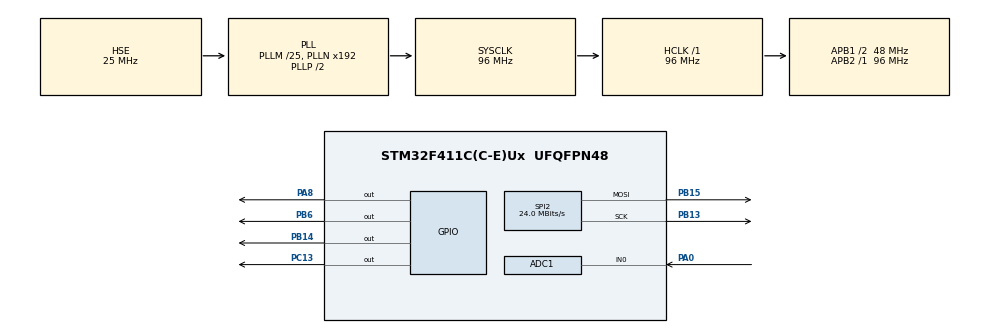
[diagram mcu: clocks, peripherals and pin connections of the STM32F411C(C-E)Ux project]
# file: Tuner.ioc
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ADC1.Channel-1\#ChannelRegularConversion=ADC_CHANNEL_0
ADC1.DMAContinuousRequests=ENABLE
ADC1.ExternalTrigConv=ADC_EXTERNALTRIGCONV_T2_TRGO
ADC1.NbrOfConversion=1
ADC1.NbrOfConversionFlag=1
ADC1.Rank-1\#ChannelRegularConversion=1
ADC1.SamplingTime-1\#ChannelRegularConversion=ADC_SAMPLETIME_480CYCLES
ADC1.master=1
Dma.ADC1.0.Direction=DMA_PERIPH_TO_MEMORY
Dma.ADC1.0.FIFOMode=DMA_FIFOMODE_DISABLE
Dma.ADC1.0.Instance=DMA2_Stream0
Dma.ADC1.0.MemDataAlignment=DMA_MDATAALIGN_HALFWORD
Dma.ADC1.0.MemInc=DMA_MINC_ENABLE
Dma.ADC1.0.Mode=DMA_CIRCULAR
Dma.ADC1.0.PeriphDataAlignment=DMA_PDATAALIGN_HALFWORD
Dma.ADC1.0.PeriphInc=DMA_PINC_DISABLE
Dma.ADC1.0.Priority=DMA_PRIORITY_HIGH
Dma.Request0=ADC1
Mcu.Family=STM32F4
Mcu.Name=STM32F411C(C-E)Ux
Mcu.Package=UFQFPN48
NVIC.ADC_IRQn=true\:0\:0\:false\:false\:true\:true\:true\:true
NVIC.DMA2_Stream0_IRQn=true\:0\:0\:false\:false\:true\:false\:true\:true
NVIC.PriorityGroup=NVIC_PRIORITYGROUP_4
PA0-WKUP.Signal=ADCx_IN0
PA8.Signal=GPIO_Output
PB13.Mode=TX_Only_Simplex_Unidirect_Master
PB13.Signal=SPI2_SCK
PB14.Signal=GPIO_Output
PB15.Mode=TX_Only_Simplex_Unidirect_Master
PB15.Signal=SPI2_MOSI
PB6.Signal=GPIO_Output
PC13-ANTI_TAMP.Signal=GPIO_Output
PC14-OSC32_IN.Mode=LSE-External-Oscillator
PC14-OSC32_IN.Signal=RCC_OSC32_IN
PC15-OSC32_OUT.Mode=LSE-External-Oscillator
PC15-OSC32_OUT.Signal=RCC_OSC32_OUT
PH0\ -\ OSC_IN.Mode=HSE-External-Oscillator
PH0\ -\ OSC_IN.Signal=RCC_OSC_IN
PH1\ -\ OSC_OUT.Mode=HSE-External-Oscillator
PH1\ -\ OSC_OUT.Signal=RCC_OSC_OUT
ProjectManager.HeapSize=0x200
ProjectManager.StackSize=0x400
ProjectManager.TargetToolchain=STM32CubeIDE
RCC.48MHZClocksFreq_Value=48000000
RCC.AHBFreq_Value=96000000
RCC.APB1CLKDivider=RCC_HCLK_DIV2
RCC.APB1Freq_Value=48000000
RCC.APB1TimFreq_Value=96000000
RCC.APB2Freq_Value=96000000
RCC.APB2TimFreq_Value=96000000
RCC.CortexFreq_Value=96000000
RCC.HCLKFreq_Value=96000000
RCC.HSE_VALUE=25000000
RCC.HSI_VALUE=16000000
RCC.PLLM=25
RCC.PLLSourceVirtual=RCC_PLLSOURCE_HSE
RCC.SYSCLKFreq_VALUE=96000000
RCC.SYSCLKSource=RCC_SYSCLKSOURCE_PLLCLK
RCC.VCOOutputFreq_Value=192000000
SH.ADCx_IN0.0=ADC1_IN0,IN0
SPI2.CalculateBaudRate=24.0 MBits/s
SPI2.Direction=SPI_DIRECTION_2LINES
SPI2.Mode=SPI_MODE_MASTER
SPI2.VirtualType=VM_MASTER
TIM2.Period=3000-1
TIM2.Prescaler=0
TIM2.TIM_MasterOutputTrigger=TIM_TRGO_UPDATE
VP_TIM2_VS_ClockSourceINT.Mode=Internal
board=custom

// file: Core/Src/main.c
/* USER CODE BEGIN Header */
/**
  ******************************************************************************
  * @file           : main.c
  * @brief          : Main program body
  ******************************************************************************
  * @attention
  *
  * Copyright (c) 2025 STMicroelectronics.
  * All rights reserved.
  *
  * This software is licensed under terms that can be found in the LICENSE file
  * in the root directory of this software component.
  * If no LICENSE file comes with this software, it is provided AS-IS.
  *
  ******************************************************************************
  */
/* USER CODE END Header */
#include "main.h"

/* USER CODE BEGIN Includes */
#include "arm_math.h"
#include "st7735.h"
#include "Yin.h"
#include "display.h"
/* USER CODE END Includes */

/* USER CODE BEGIN PD */
#define TEST_MODE 0
#define BUFFER_SIZE 916
#define SAMPLE_RATE 32000
#define THRESHOLD 0.1
#define A4 440
#define ADC_MAX 4095
/* USER CODE END PD */

ADC_HandleTypeDef hadc1;
DMA_HandleTypeDef hdma_adc1;
SPI_HandleTypeDef hspi2;
TIM_HandleTypeDef htim2;

/* USER CODE BEGIN PV */
uint16_t adcData[BUFFER_SIZE*2];
uint16_t* adcBufPtr;
uint8_t dataReady;
float32_t yinBuffer[BUFFER_SIZE];
Yin yin;
/* USER CODE END PV */

void SystemClock_Config(void);
static void MX_GPIO_Init(void);
static void MX_DMA_Init(void);
static void MX_SPI2_Init(void);
static void MX_ADC1_Init(void);
static void MX_TIM2_Init(void);

/* USER CODE BEGIN 0 */
void HAL_ADC_ConvHalfCpltCallback(ADC_HandleTypeDef *hadc) {
	adcBufPtr = &adcData[0];
	dataReady = 1;
}

void HAL_ADC_ConvCpltCallback(ADC_HandleTypeDef *hadc) {
	adcBufPtr = &adcData[BUFFER_SIZE];
	dataReady = 1;
}

void normalize_data() {
	for(int i=0; i < BUFFER_SIZE; i++) {
		yinBuffer[i] = (float32_t)(2 * adcBufPtr[i] - ADC_MAX) / (float32_t) ADC_MAX;
	}
}
/* USER CODE END 0 */

int main(void)
{

  /* MCU Configuration--------------------------------------------------------*/

  /* Reset of all peripherals, Initializes the Flash interface and the Systick. */
  HAL_Init();

  /* Configure the system clock */
  SystemClock_Config();

  /* Initialize all configured peripherals */
  MX_GPIO_Init();
  MX_DMA_Init();
  MX_SPI2_Init();
  MX_ADC1_Init();
  MX_TIM2_Init();

  /* USER CODE BEGIN 2 */
	HAL_ADC_Start_DMA(&hadc1, (uint32_t*)adcData, BUFFER_SIZE*2);
	HAL_TIM_Base_Start(&htim2);
	Yin_init(&yin, BUFFER_SIZE, SAMPLE_RATE, THRESHOLD);
	ST7735_Init();
	display_init();
	/* USER CODE END 2 */

  /* Infinite loop */
  /* USER CODE BEGIN WHILE */
	float32_t pitch;

	while (1) {
		if (dataReady) {
			// Center and normalize ADC data between -1.0 and 1.0
			normalize_data();

			// YIN pitch detection (Hz)
			pitch = Yin_getPitch(&yin, yinBuffer);

			if (yin.confidence > 0.95) {
				// Convert to semitones
				pitch = 12.0f * log2f(pitch / (float32_t) A4);

				// Display current pitch
				update_display(pitch);
			}

			dataReady = 0;
		}
	}
    /* USER CODE END WHILE */

}

void SystemClock_Config(void)
{
  RCC_OscInitTypeDef RCC_OscInitStruct = {0};
  RCC_ClkInitTypeDef RCC_ClkInitStruct = {0};

  /** Configure the main internal regulator output voltage
  */
  __HAL_RCC_PWR_CLK_ENABLE();
  __HAL_PWR_VOLTAGESCALING_CONFIG(PWR_REGULATOR_VOLTAGE_SCALE1);

  /** Initializes the RCC Oscillators according to the specified parameters
  * in the RCC_OscInitTypeDef structure.
  */
  RCC_OscInitStruct.OscillatorType = RCC_OSCILLATORTYPE_HSE;
  RCC_OscInitStruct.HSEState = RCC_HSE_ON;
  RCC_OscInitStruct.PLL.PLLState = RCC_PLL_ON;
  RCC_OscInitStruct.PLL.PLLSource = RCC_PLLSOURCE_HSE;
  RCC_OscInitStruct.PLL.PLLM = 25;
  RCC_OscInitStruct.PLL.PLLN = 192;
  RCC_OscInitStruct.PLL.PLLP = RCC_PLLP_DIV2;
  RCC_OscInitStruct.PLL.PLLQ = 4;
  if (HAL_RCC_OscConfig(&RCC_OscInitStruct) != HAL_OK)
  {
    Error_Handler();
  }

  /** Initializes the CPU, AHB and APB buses clocks
  */
  RCC_ClkInitStruct.ClockType = RCC_CLOCKTYPE_HCLK|RCC_CLOCKTYPE_SYSCLK
                              |RCC_CLOCKTYPE_PCLK1|RCC_CLOCKTYPE_PCLK2;
  RCC_ClkInitStruct.SYSCLKSource = RCC_SYSCLKSOURCE_PLLCLK;
  RCC_ClkInitStruct.AHBCLKDivider = RCC_SYSCLK_DIV1;
  RCC_ClkInitStruct.APB1CLKDivider = RCC_HCLK_DIV2;
  RCC_ClkInitStruct.APB2CLKDivider = RCC_HCLK_DIV1;

  if (HAL_RCC_ClockConfig(&RCC_ClkInitStruct, FLASH_LATENCY_3) != HAL_OK)
  {
    Error_Handler();
  }
}

static void MX_ADC1_Init(void)
{

  ADC_ChannelConfTypeDef sConfig = {0};

  /** Configure the global features of the ADC (Clock, Resolution, Data Alignment and number of conversion)
  */
  hadc1.Instance = ADC1;
  hadc1.Init.ClockPrescaler = ADC_CLOCK_SYNC_PCLK_DIV4;
  hadc1.Init.Resolution = ADC_RESOLUTION_12B;
  hadc1.Init.ScanConvMode = DISABLE;
  hadc1.Init.ContinuousConvMode = DISABLE;
  hadc1.Init.DiscontinuousConvMode = DISABLE;
  hadc1.Init.ExternalTrigConvEdge = ADC_EXTERNALTRIGCONVEDGE_RISING;
  hadc1.Init.ExternalTrigConv = ADC_EXTERNALTRIGCONV_T2_TRGO;
  hadc1.Init.DataAlign = ADC_DATAALIGN_RIGHT;
  hadc1.Init.NbrOfConversion = 1;
  hadc1.Init.DMAContinuousRequests = ENABLE;
  hadc1.Init.EOCSelection = ADC_EOC_SINGLE_CONV;
  if (HAL_ADC_Init(&hadc1) != HAL_OK)
  {
    Error_Handler();
  }

  /** Configure for the selected ADC regular channel its corresponding rank in the sequencer and its sample time.
  */
  sConfig.Channel = ADC_CHANNEL_0;
  sConfig.Rank = 1;
  sConfig.SamplingTime = ADC_SAMPLETIME_480CYCLES;
  if (HAL_ADC_ConfigChannel(&hadc1, &sConfig) != HAL_OK)
  {
    Error_Handler();
  }

}

static void MX_SPI2_Init(void)
{

  /* SPI2 parameter configuration*/
  hspi2.Instance = SPI2;
  hspi2.Init.Mode = SPI_MODE_MASTER;
  hspi2.Init.Direction = SPI_DIRECTION_2LINES;
  hspi2.Init.DataSize = SPI_DATASIZE_8BIT;
  hspi2.Init.CLKPolarity = SPI_POLARITY_LOW;
  hspi2.Init.CLKPhase = SPI_PHASE_1EDGE;
  hspi2.Init.NSS = SPI_NSS_SOFT;
  hspi2.Init.BaudRatePrescaler = SPI_BAUDRATEPRESCALER_2;
  hspi2.Init.FirstBit = SPI_FIRSTBIT_MSB;
  hspi2.Init.TIMode = SPI_TIMODE_DISABLE;
  hspi2.Init.CRCCalculation = SPI_CRCCALCULATION_DISABLE;
  hspi2.Init.CRCPolynomial = 10;
  if (HAL_SPI_Init(&hspi2) != HAL_OK)
  {
    Error_Handler();
  }

}

static void MX_TIM2_Init(void)
{

  TIM_ClockConfigTypeDef sClockSourceConfig = {0};
  TIM_MasterConfigTypeDef sMasterConfig = {0};

  htim2.Instance = TIM2;
  htim2.Init.Prescaler = 0;
  htim2.Init.CounterMode = TIM_COUNTERMODE_UP;
  htim2.Init.Period = 3000-1;
  htim2.Init.ClockDivision = TIM_CLOCKDIVISION_DIV1;
  htim2.Init.AutoReloadPreload = TIM_AUTORELOAD_PRELOAD_DISABLE;
  if (HAL_TIM_Base_Init(&htim2) != HAL_OK)
  {
    Error_Handler();
  }
  sClockSourceConfig.ClockSource = TIM_CLOCKSOURCE_INTERNAL;
  if (HAL_TIM_ConfigClockSource(&htim2, &sClockSourceConfig) != HAL_OK)
  {
    Error_Handler();
  }
  sMasterConfig.MasterOutputTrigger = TIM_TRGO_UPDATE;
  sMasterConfig.MasterSlaveMode = TIM_MASTERSLAVEMODE_DISABLE;
  if (HAL_TIMEx_MasterConfigSynchronization(&htim2, &sMasterConfig) != HAL_OK)
  {
    Error_Handler();
  }

}

static void MX_DMA_Init(void)
{

  /* DMA controller clock enable */
  __HAL_RCC_DMA2_CLK_ENABLE();

  /* DMA interrupt init */
  /* DMA2_Stream0_IRQn interrupt configuration */
  HAL_NVIC_SetPriority(DMA2_Stream0_IRQn, 0, 0);
  HAL_NVIC_EnableIRQ(DMA2_Stream0_IRQn);

}

static void MX_GPIO_Init(void)
{
  GPIO_InitTypeDef GPIO_InitStruct = {0};

  /* GPIO Ports Clock Enable */
  __HAL_RCC_GPIOC_CLK_ENABLE();
  __HAL_RCC_GPIOH_CLK_ENABLE();
  __HAL_RCC_GPIOA_CLK_ENABLE();
  __HAL_RCC_GPIOB_CLK_ENABLE();

  /*Configure GPIO pin Output Level */
  HAL_GPIO_WritePin(GPIOC, GPIO_PIN_13, GPIO_PIN_RESET);

  /*Configure GPIO pin Output Level */
  HAL_GPIO_WritePin(GPIOB, GPIO_PIN_14|GPIO_PIN_6, GPIO_PIN_RESET);

  /*Configure GPIO pin Output Level */
  HAL_GPIO_WritePin(GPIOA, GPIO_PIN_8, GPIO_PIN_RESET);

  /*Configure GPIO pin : PC13 */
  GPIO_InitStruct.Pin = GPIO_PIN_13;
  GPIO_InitStruct.Mode = GPIO_MODE_OUTPUT_PP;
  GPIO_InitStruct.Pull = GPIO_NOPULL;
  GPIO_InitStruct.Speed = GPIO_SPEED_FREQ_LOW;
  HAL_GPIO_Init(GPIOC, &GPIO_InitStruct);

  /*Configure GPIO pins : PB14 PB6 */
  GPIO_InitStruct.Pin = GPIO_PIN_14|GPIO_PIN_6;
  GPIO_InitStruct.Mode = GPIO_MODE_OUTPUT_PP;
  GPIO_InitStruct.Pull = GPIO_NOPULL;
  GPIO_InitStruct.Speed = GPIO_SPEED_FREQ_LOW;
  HAL_GPIO_Init(GPIOB, &GPIO_InitStruct);

  /*Configure GPIO pin : PA8 */
  GPIO_InitStruct.Pin = GPIO_PIN_8;
  GPIO_InitStruct.Mode = GPIO_MODE_OUTPUT_PP;
  GPIO_InitStruct.Pull = GPIO_NOPULL;
  GPIO_InitStruct.Speed = GPIO_SPEED_FREQ_LOW;
  HAL_GPIO_Init(GPIOA, &GPIO_InitStruct);

}

void Error_Handler(void)
{
  __disable_irq();
  while (1)
  {
  }
}
